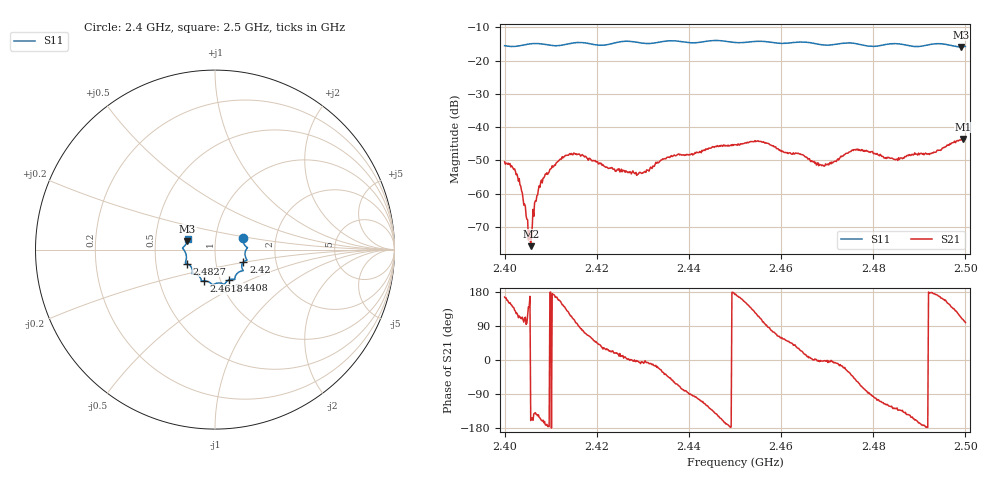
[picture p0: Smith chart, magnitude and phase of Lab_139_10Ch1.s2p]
# Hz S RI R 50
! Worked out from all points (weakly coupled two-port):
!   601 points, 2.4 GHz to 2.5 GHz, reference 50 ohm
!   highest |S21| = -43.52 dB at 2.4995 GHz (marker M1); lowest = -75.8 dB at 2.4057 GHz (marker M2)
!   lowest |S11| = -15.8 dB at 2.499 GHz (marker M3), VSWR 1.39, Z = 36.5 + j3.53 ohm
!   |S11| at or under -10 dB: start of sweep to end of sweep
!   S12 and S22 are empty: the file has one direction only
!   S11 on the Smith chart (normalised r, x): 2.4 GHz: 1.36, +0.17; 2.42 GHz: 1.36, -0.19; 2.4408 GHz: 1.10, -0.38; 2.4618 GHz: 0.84, -0.30; 2.4827 GHz: 0.72, -0.12; 2.5 GHz: 0.73, +0.09
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2.4e9  0.1563 0.0623  -0.00292 0.000725  0 0  0 0
2.402667e9  0.1626 0.0301  -0.0011 0.00164  0 0  0 0
2.405667e9  0.1794 0.0126  -0.000152 -5.63e-05  0 0  0 0
2.407e9  0.1811 0.0107  -0.00075 -0.000548  0 0  0 0
2.408333e9  0.1778 0.0067  -0.00159 -0.000623  0 0  0 0
2.413e9  0.1696 -0.041  -0.0028 0.0023  0 0  0 0
2.416667e9  0.1783 -0.0594  0.000502 0.00374  0 0  0 0
2.42e9  0.1579 -0.0692  0.00211 0.00213  0 0  0 0
2.428667e9  0.1479 -0.1191  0.00188 -4.74e-05  0 0  0 0
2.433333e9  0.112 -0.1522  0.00271 -0.00105  0 0  0 0
2.440833e9  0.0789 -0.1685  -0.000331 -0.00379  0 0  0 0
2.45e9  0.0279 -0.186  -0.00541 0.000693  0 0  0 0
2.455167e9  -0.0117 -0.1959  -0.00259 0.00554  0 0  0 0
2.461833e9  -0.0601 -0.1752  0.00285 0.00298  0 0  0 0
2.466667e9  -0.0768 -0.1684  0.00313 0.000198  0 0  0 0
2.469833e9  -0.0937 -0.1437  0.00272 -0.000166  0 0  0 0
2.476167e9  -0.1263 -0.1304  0.00281 -0.00356  0 0  0 0
2.482667e9  -0.1572 -0.0778  -0.00156 -0.0031  0 0  0 0
2.483333e9  -0.1613 -0.0762  -0.00182 -0.00302  0 0  0 0
2.499e9  -0.1546 0.0472  -0.00249 0.00592  0 0  0 0
2.4995e9  -0.1529 0.0544  -0.00193 0.00638  0 0  0 0
2.5e9  -0.152 0.0618  -0.00101 0.00651  0 0  0 0
